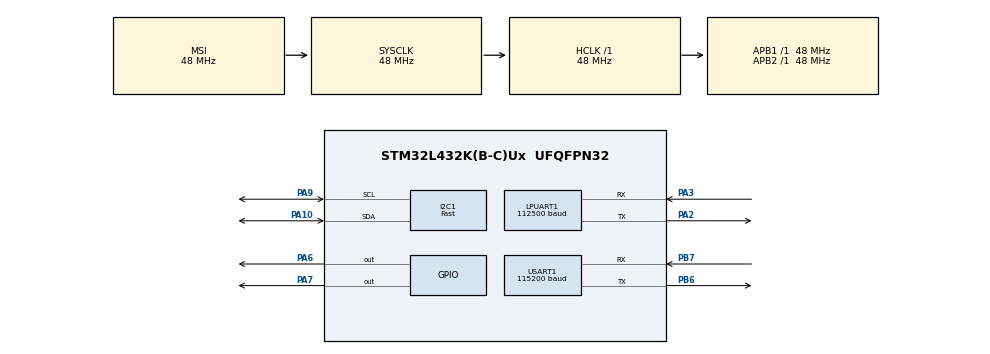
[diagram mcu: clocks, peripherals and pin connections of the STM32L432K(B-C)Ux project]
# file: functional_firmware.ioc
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I2C1.I2C_Speed_Mode=I2C_Fast
I2C1.Timing=0x2010091A
LPUART1.BaudRate=112500
LPUART1.WordLength=UART_WORDLENGTH_8B
Mcu.Family=STM32L4
Mcu.Name=STM32L432K(B-C)Ux
Mcu.Package=UFQFPN32
NVIC.LPUART1_IRQn=true\:0\:0\:false\:true\:true\:1\:true\:true
NVIC.PriorityGroup=NVIC_PRIORITYGROUP_4
PA0.GPIO_Label=MCO
PA0.Signal=RCC_CK_IN
PA10.Mode=I2C
PA10.Signal=I2C1_SDA
PA13\ (JTMS-SWDIO).GPIO_Label=SWDIO
PA13\ (JTMS-SWDIO).Mode=Serial_Wire
PA13\ (JTMS-SWDIO).Signal=SYS_JTMS-SWDIO
PA14\ (JTCK-SWCLK).GPIO_Label=SWCLK
PA14\ (JTCK-SWCLK).Mode=Serial_Wire
PA14\ (JTCK-SWCLK).Signal=SYS_JTCK-SWCLK
PA2.Mode=Asynchronous
PA2.Signal=LPUART1_TX
PA3.Mode=Asynchronous
PA3.Signal=LPUART1_RX
PA6.GPIO_PuPd=GPIO_PULLDOWN
PA6.PinState=GPIO_PIN_RESET
PA6.Signal=GPIO_Output
PA7.GPIO_PuPd=GPIO_PULLDOWN
PA7.PinState=GPIO_PIN_RESET
PA7.Signal=GPIO_Output
PA9.Mode=I2C
PA9.Signal=I2C1_SCL
PB6.Mode=Asynchronous
PB6.Signal=USART1_TX
PB7.Mode=Asynchronous
PB7.Signal=USART1_RX
ProjectManager.HeapSize=0x200
ProjectManager.StackSize=0x400
ProjectManager.TargetToolchain=STM32CubeIDE
RCC.ADCFreq_Value=48000000
RCC.AHBFreq_Value=48000000
RCC.APB1Freq_Value=48000000
RCC.APB1TimFreq_Value=48000000
RCC.APB2Freq_Value=48000000
RCC.APB2TimFreq_Value=48000000
RCC.CK48CLockSelection=RCC_USBCLKSOURCE_MSI
RCC.CortexFreq_Value=48000000
RCC.HCLKFreq_Value=48000000
RCC.HSE_VALUE=8000000
RCC.HSI48_VALUE=48000000
RCC.HSI_VALUE=16000000
RCC.LPTIM1CLockSelection=RCC_LPTIM1CLKSOURCE_LSE
RCC.LSE_VALUE=32768
RCC.MSIClockRange=RCC_MSIRANGE_11
RCC.MSI_VALUE=48000000
RCC.PLLM=8
RCC.PLLQ=RCC_PLLQ_DIV4
RCC.PLLSAI1N=16
RCC.PLLSAI1Q=RCC_PLLQ_DIV4
RCC.RTCClockSelection=RCC_RTCCLKSOURCE_LSE
RCC.SYSCLKFreq_VALUE=48000000
RCC.USBFreq_Value=48000000
RCC.VCOOutputFreq_Value=48000000
USART1.BaudRate=115200
USART1.VirtualMode-Asynchronous=VM_ASYNC
VP_TIM1_VS_ClockSourceINT.Mode=Internal
VP_TIM2_VS_ClockSourceINT.Mode=Internal
board=custom

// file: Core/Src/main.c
/* USER CODE BEGIN Header */
/**
  ******************************************************************************
  * @file           : main.c
  * @brief          : Main program body
  ******************************************************************************
  * @attention
  *
  * Copyright (c) 2022 STMicroelectronics.
  * All rights reserved.
  *
  * This software is licensed under terms that can be found in the LICENSE file
  * in the root directory of this software component.
  * If no LICENSE file comes with this software, it is provided AS-IS.
  *
  ******************************************************************************
  */
/* USER CODE END Header */
#include "main.h"

/* USER CODE BEGIN Includes */
#include <stdio.h>
#include <math.h>
#include <time.h>
#include "logger.h"
#include "levmarq.h"
/* USER CODE END Includes */

/* USER CODE BEGIN PD */
#define FLOW_THRESHOLD 0.4

#define sample_duration 13000
#define N_MEASUREMENTS 13
#define N_PARAMS 5

#define A_CONST 2366.09
#define B_CONST 4150.07
#define C_CONST 0.0320124

#define HEAT_ON 100
#define SIZE 3
/* USER CODE END PD */

I2C_HandleTypeDef hi2c1;

UART_HandleTypeDef hlpuart1;
UART_HandleTypeDef huart1;

TIM_HandleTypeDef htim1;
TIM_HandleTypeDef htim2;

/* USER CODE BEGIN PV */
char print_data[PRINT_DATA_SIZE];
static const uint8_t TMP117_ADDR = 0x4A << 1;
static const uint8_t BROADCAST_ADDR = 0x00 << 1;
static const uint8_t REG_TEMP = 0x00;
static const uint8_t REG_CONF = 0x01;
static uint8_t buf[SIZE];
LMstat lmstat;
/* USER CODE END PV */

void SystemClock_Config(void);
static void MX_GPIO_Init(void);
static void MX_LPUART1_UART_Init(void);
static void MX_USART1_UART_Init(void);
static void MX_I2C1_Init(void);
static void MX_TIM1_Init(void);
static void MX_TIM2_Init(void);
static void MX_NVIC_Init(void);
/* USER CODE BEGIN PFP */
/* @brief   Function, describes Newton law of heating/cooling
 *
 * @usage   par[0] - temperature of heater,
 *          par[1] - initial temperature of water,
 *          par[2] - heat transmission coefficient
 *
 * @par     input of Newton Law:
 * @x       samplenumber
 * @fdata   additional data, not used
 *
 * @return  temperature at the time x
 */
double analytical_model(double *p, int t, void *fdata)
{
	// p[0] = q
	// p[1] = v
	// p[2] = d
	// p[3] = k
	// p[4] = a
    return p[0]/(4.0*p[3]*3.1415*(t+p[2])) * exp(-pow(3-p[1]*(t+p[2]),2)/(4.0*p[4]*(t+p[2])));
}

/*
 * @brief   Gradient function for Newton law of heating
 */
void gradient(double *g, double *p, int t, void *fdata)
{
	double tmp_rslt = exp(-pow(3-p[1]*(t+p[2]),2)/(4.0*p[4]*(t+p[2])));
    g[0] = tmp_rslt/(4.0*3.1415*p[3]*(t+p[2]));
    g[1] = tmp_rslt*p[0]*(3-p[1]*(t+p[2]))/(8.0*3.1415*p[3]*p[4]*(t+p[2]));
    g[2] = p[0]*tmp_rslt*(-4.0*p[4]*(t+p[2])-(pow(p[2]*p[1],2)+2*t*p[2]*pow(p[1],2)-9+pow(t*p[1],2)))/(16*3.1415*p[3]*p[4]*pow(t+p[2],3));
    g[3] = -p[0]*tmp_rslt/(4.0*3.1415*pow(p[3],2)*(t+p[2]));
    g[4] = tmp_rslt*p[0]*pow(3-p[1]*(t+p[2]),2)/(16.0*3.1415*p[3]*pow(p[4],2)*pow(t+p[2],2));
}

/*
 * @brief  Function for prediction of time, when target temperature will be reached
 *
 * @par    Parameters from Newton equation
 * @temp   Target temperature
 * @return Number of sample
 */
double get_timedelta(double *p)
{
    return 1000.0*((-2*p[4]+sqrt(4*pow(p[4],2)+pow(3*p[1],2)))/pow(p[1],2)-p[2]);
}
/*
 * @brief  Function for transforming timedelta to flowrate, provide 2 decimal places
 *
 * @par    Parameters from Newton equation
 * @temp   Target temperature
 * @return Number of sample
 */
double get_flowrate(double td)
{
    return log(pow(B_CONST/(td-A_CONST),1/C_CONST));
}
/* USER CODE END PFP */

int main(void)
{
  /* USER CODE BEGIN 1 */
  HAL_StatusTypeDef ret;
  uint32_t prev_time;
  int16_t val;
  float temp_c;
  float lowest_c;
  float highest_c;
  float timedelta;
  float flowrate;
  /* USER CODE END 1 */

  /* MCU Configuration--------------------------------------------------------*/

  /* Reset of all peripherals, Initializes the Flash interface and the Systick. */
  HAL_Init();

  /* Configure the system clock */
  SystemClock_Config();

  /* Initialize all configured peripherals */
  MX_GPIO_Init();
  MX_LPUART1_UART_Init();
  MX_USART1_UART_Init();
  MX_I2C1_Init();
  MX_TIM1_Init();
  MX_TIM2_Init();

  /* Initialize interrupts */
  MX_NVIC_Init();
  /* USER CODE BEGIN 2 */
  int n_iterations;
  buf[0] = REG_CONF;
  buf[1] = 0x00;
  buf[2] = 0x00;
  ret = HAL_I2C_Master_Transmit(&hi2c1, TMP117_ADDR, buf, 3, HAL_MAX_DELAY);
  if (ret != HAL_OK) {
    log_debug("%s","I2C Failed");
  }
  log_debug("%s",(char*)buf);
  levmarq_init(&lmstat);
  HAL_Delay(1000);
  /* USER CODE END 2 */

  /* Infinite loop */
  /* USER CODE BEGIN WHILE */
  HAL_GPIO_WritePin(GPIOA, GPIO_PIN_6, GPIO_PIN_RESET);
  HAL_GPIO_WritePin(GPIOA, GPIO_PIN_7, GPIO_PIN_RESET);
  while (1)
  {
	  double t_data[N_MEASUREMENTS];
	  double params[N_PARAMS] = {30, 0.5, 1, 0.598, 0.143}; // Initial values of parameters

	  // Heater Pulse
	    HAL_GPIO_WritePin(GPIOA, GPIO_PIN_7, GPIO_PIN_SET);
	    HAL_Delay(HEAT_ON);
	    HAL_GPIO_WritePin(GPIOA, GPIO_PIN_7, GPIO_PIN_RESET);

	  // Collect Data
	    for(int i = 0; i < N_MEASUREMENTS; i++){
			prev_time = HAL_GetTick();
			buf[0] = REG_TEMP;
			ret = HAL_I2C_Master_Transmit(&hi2c1, TMP117_ADDR, buf, 1, HAL_MAX_DELAY);
			if (ret != HAL_OK) {
				log_debug("%s","I2C Failed");
			}
			else{
				ret = HAL_I2C_Master_Receive(&hi2c1, TMP117_ADDR, buf, 2, HAL_MAX_DELAY);
				if (ret != HAL_OK) {
					log_debug("%s","I2C Failed");
				}
				else{
					val = (int16_t)(buf[0] << 8| buf[1]);
					temp_c = val * 0.0078125;
					for(int i=0; i<SIZE; i++){
						buf[i] = 0;
					}
					log_debug("%lu %.2f",(uint32_t)prev_time,temp_c);
					t_data[i] = temp_c;
				}
			}
			while(HAL_GetTick()-prev_time < (sample_duration/N_MEASUREMENTS));
	    }
  /* USER CODE END WHILE */
  /* USER CODE BEGIN 3 */
	  lowest_c = 100.0;
	  highest_c = 0.0;
	  for(int i = 0; i < N_MEASUREMENTS; i++){
		  if(t_data[i] < lowest_c){
			  lowest_c = t_data[i];
		  }
		  if(t_data[i] > highest_c){
			  highest_c = t_data[i];
		  }
	  }
	  if ((highest_c - lowest_c) > FLOW_THRESHOLD){
		  for(int i = 0; i < N_MEASUREMENTS; i++){
			  t_data[i] -= lowest_c;
		  }

		  prev_time = HAL_GetTick();
		  n_iterations = levmarq(N_PARAMS, params, N_MEASUREMENTS, t_data, NULL,
				  &analytical_model, &gradient, NULL, &lmstat);
		  prev_time = HAL_GetTick()-prev_time;
		  log_debug("%s","\n\n");
		  log_debug("%s","**************** End of calculation ***********************");
		  log_debug("N iterations: %d\t Elapsed Time: %lu ms", n_iterations,prev_time);
		  log_debug("q: %f, v: %f, d: %f, k: %f, a: %f", params[0], params[1], params[2], params[3], params[4]);
		  log_debug("%s","**************** Interpolation test ***********************");

		  timedelta = get_timedelta(params);
		  flowrate  = get_flowrate(get_timedelta(params));
		  log_debug("Result: %.2f uL/min w timedelta %.2f ms",flowrate,timedelta);

		  if((flowrate > 0 ) && (params[0] > 0) && (params[1] > 0) && \
				  (params[2] > 0) && (params[3] > 0) && (params[4] > 0)){
			  log_info("%.2f", flowrate);
		  }
		  else{
			  log_info("%s", "OOR");
		  }
	  }
	  else{
		  log_info("%.2f", 0.);
	  }
		  /* USER CODE END WHILE */

    /* USER CODE BEGIN 3 */
  }
  /* USER CODE END 3 */
}

void SystemClock_Config(void)
{
  RCC_OscInitTypeDef RCC_OscInitStruct = {0};
  RCC_ClkInitTypeDef RCC_ClkInitStruct = {0};

  /** Configure the main internal regulator output voltage
  */
  if (HAL_PWREx_ControlVoltageScaling(PWR_REGULATOR_VOLTAGE_SCALE1) != HAL_OK)
  {
    Error_Handler();
  }
  /** Initializes the RCC Oscillators according to the specified parameters
  * in the RCC_OscInitTypeDef structure.
  */
  RCC_OscInitStruct.OscillatorType = RCC_OSCILLATORTYPE_MSI;
  RCC_OscInitStruct.MSIState = RCC_MSI_ON;
  RCC_OscInitStruct.MSICalibrationValue = 0;
  RCC_OscInitStruct.MSIClockRange = RCC_MSIRANGE_11;
  RCC_OscInitStruct.PLL.PLLState = RCC_PLL_NONE;
  if (HAL_RCC_OscConfig(&RCC_OscInitStruct) != HAL_OK)
  {
    Error_Handler();
  }
  /** Initializes the CPU, AHB and APB buses clocks
  */
  RCC_ClkInitStruct.ClockType = RCC_CLOCKTYPE_HCLK|RCC_CLOCKTYPE_SYSCLK
                              |RCC_CLOCKTYPE_PCLK1|RCC_CLOCKTYPE_PCLK2;
  RCC_ClkInitStruct.SYSCLKSource = RCC_SYSCLKSOURCE_MSI;
  RCC_ClkInitStruct.AHBCLKDivider = RCC_SYSCLK_DIV1;
  RCC_ClkInitStruct.APB1CLKDivider = RCC_HCLK_DIV1;
  RCC_ClkInitStruct.APB2CLKDivider = RCC_HCLK_DIV1;

  if (HAL_RCC_ClockConfig(&RCC_ClkInitStruct, FLASH_LATENCY_2) != HAL_OK)
  {
    Error_Handler();
  }
}

/**
  * @brief NVIC Configuration.
  * @retval None
  */
static void MX_NVIC_Init(void)
{
  /* LPUART1_IRQn interrupt configuration */
  HAL_NVIC_SetPriority(LPUART1_IRQn, 0, 0);
  HAL_NVIC_EnableIRQ(LPUART1_IRQn);
}

static void MX_I2C1_Init(void)
{

  hi2c1.Instance = I2C1;
  hi2c1.Init.Timing = 0x2010091A;
  hi2c1.Init.OwnAddress1 = 0;
  hi2c1.Init.AddressingMode = I2C_ADDRESSINGMODE_7BIT;
  hi2c1.Init.DualAddressMode = I2C_DUALADDRESS_DISABLE;
  hi2c1.Init.OwnAddress2 = 0;
  hi2c1.Init.OwnAddress2Masks = I2C_OA2_NOMASK;
  hi2c1.Init.GeneralCallMode = I2C_GENERALCALL_DISABLE;
  hi2c1.Init.NoStretchMode = I2C_NOSTRETCH_DISABLE;
  if (HAL_I2C_Init(&hi2c1) != HAL_OK)
  {
    Error_Handler();
  }
  /** Configure Analogue filter
  */
  if (HAL_I2CEx_ConfigAnalogFilter(&hi2c1, I2C_ANALOGFILTER_ENABLE) != HAL_OK)
  {
    Error_Handler();
  }
  /** Configure Digital filter
  */
  if (HAL_I2CEx_ConfigDigitalFilter(&hi2c1, 0) != HAL_OK)
  {
    Error_Handler();
  }

}

static void MX_LPUART1_UART_Init(void)
{

  hlpuart1.Instance = LPUART1;
  hlpuart1.Init.BaudRate = 112500;
  hlpuart1.Init.WordLength = UART_WORDLENGTH_8B;
  hlpuart1.Init.StopBits = UART_STOPBITS_1;
  hlpuart1.Init.Parity = UART_PARITY_NONE;
  hlpuart1.Init.Mode = UART_MODE_TX_RX;
  hlpuart1.Init.HwFlowCtl = UART_HWCONTROL_NONE;
  hlpuart1.Init.OneBitSampling = UART_ONE_BIT_SAMPLE_DISABLE;
  hlpuart1.AdvancedInit.AdvFeatureInit = UART_ADVFEATURE_NO_INIT;
  if (HAL_UART_Init(&hlpuart1) != HAL_OK)
  {
    Error_Handler();
  }

}

static void MX_USART1_UART_Init(void)
{

  huart1.Instance = USART1;
  huart1.Init.BaudRate = 115200;
  huart1.Init.WordLength = UART_WORDLENGTH_8B;
  huart1.Init.StopBits = UART_STOPBITS_1;
  huart1.Init.Parity = UART_PARITY_NONE;
  huart1.Init.Mode = UART_MODE_TX_RX;
  huart1.Init.HwFlowCtl = UART_HWCONTROL_NONE;
  huart1.Init.OverSampling = UART_OVERSAMPLING_16;
  huart1.Init.OneBitSampling = UART_ONE_BIT_SAMPLE_DISABLE;
  huart1.AdvancedInit.AdvFeatureInit = UART_ADVFEATURE_NO_INIT;
  if (HAL_UART_Init(&huart1) != HAL_OK)
  {
    Error_Handler();
  }

}

static void MX_TIM1_Init(void)
{

  TIM_ClockConfigTypeDef sClockSourceConfig = {0};
  TIM_MasterConfigTypeDef sMasterConfig = {0};

  htim1.Instance = TIM1;
  htim1.Init.Prescaler = 0;
  htim1.Init.CounterMode = TIM_COUNTERMODE_UP;
  htim1.Init.Period = 65535;
  htim1.Init.ClockDivision = TIM_CLOCKDIVISION_DIV1;
  htim1.Init.RepetitionCounter = 0;
  htim1.Init.AutoReloadPreload = TIM_AUTORELOAD_PRELOAD_DISABLE;
  if (HAL_TIM_Base_Init(&htim1) != HAL_OK)
  {
    Error_Handler();
  }
  sClockSourceConfig.ClockSource = TIM_CLOCKSOURCE_INTERNAL;
  if (HAL_TIM_ConfigClockSource(&htim1, &sClockSourceConfig) != HAL_OK)
  {
    Error_Handler();
  }
  sMasterConfig.MasterOutputTrigger = TIM_TRGO_RESET;
  sMasterConfig.MasterOutputTrigger2 = TIM_TRGO2_RESET;
  sMasterConfig.MasterSlaveMode = TIM_MASTERSLAVEMODE_DISABLE;
  if (HAL_TIMEx_MasterConfigSynchronization(&htim1, &sMasterConfig) != HAL_OK)
  {
    Error_Handler();
  }

}

static void MX_TIM2_Init(void)
{

  TIM_ClockConfigTypeDef sClockSourceConfig = {0};
  TIM_MasterConfigTypeDef sMasterConfig = {0};

  htim2.Instance = TIM2;
  htim2.Init.Prescaler = 0;
  htim2.Init.CounterMode = TIM_COUNTERMODE_UP;
  htim2.Init.Period = 4294967295;
  htim2.Init.ClockDivision = TIM_CLOCKDIVISION_DIV1;
  htim2.Init.AutoReloadPreload = TIM_AUTORELOAD_PRELOAD_DISABLE;
  if (HAL_TIM_Base_Init(&htim2) != HAL_OK)
  {
    Error_Handler();
  }
  sClockSourceConfig.ClockSource = TIM_CLOCKSOURCE_INTERNAL;
  if (HAL_TIM_ConfigClockSource(&htim2, &sClockSourceConfig) != HAL_OK)
  {
    Error_Handler();
  }
  sMasterConfig.MasterOutputTrigger = TIM_TRGO_RESET;
  sMasterConfig.MasterSlaveMode = TIM_MASTERSLAVEMODE_DISABLE;
  if (HAL_TIMEx_MasterConfigSynchronization(&htim2, &sMasterConfig) != HAL_OK)
  {
    Error_Handler();
  }

}

static void MX_GPIO_Init(void)
{
  GPIO_InitTypeDef GPIO_InitStruct = {0};

  /* GPIO Ports Clock Enable */
  __HAL_RCC_GPIOA_CLK_ENABLE();
  __HAL_RCC_GPIOB_CLK_ENABLE();

  /*Configure GPIO pin Output Level */
  HAL_GPIO_WritePin(GPIOA, GPIO_PIN_6|GPIO_PIN_7, GPIO_PIN_RESET);

  /*Configure GPIO pins : PA6 PA7 */
  GPIO_InitStruct.Pin = GPIO_PIN_6|GPIO_PIN_7;
  GPIO_InitStruct.Mode = GPIO_MODE_OUTPUT_PP;
  GPIO_InitStruct.Pull = GPIO_PULLDOWN;
  GPIO_InitStruct.Speed = GPIO_SPEED_FREQ_LOW;
  HAL_GPIO_Init(GPIOA, &GPIO_InitStruct);

}

void Error_Handler(void)
{
  __disable_irq();
  while (1)
  {
  }
}
